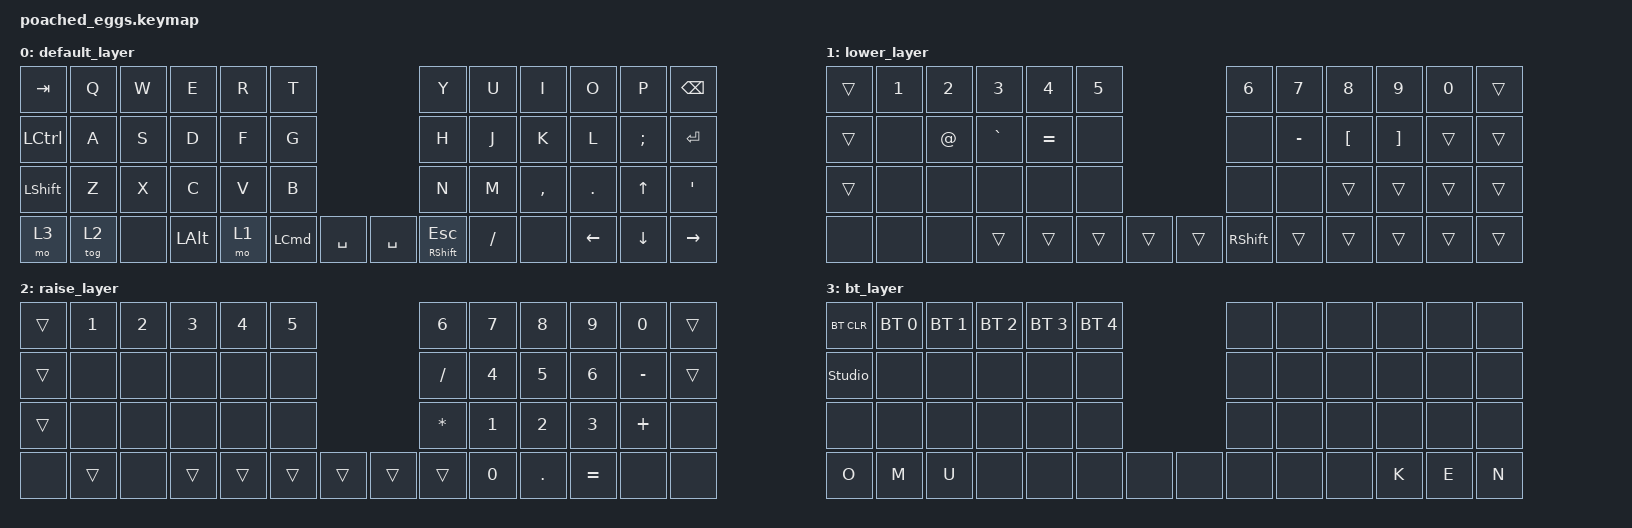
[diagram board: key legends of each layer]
#include <behaviors.dtsi>
#include <dt-bindings/zmk/bt.h>
#include <dt-bindings/zmk/keys.h>

/ {
    keymap {
        compatible = "zmk,keymap";

        default_layer {
            bindings = <
&kp TAB    &kp Q   &kp W  &kp E         &kp R  &kp T                                   &kp Y                   &kp U     &kp I      &kp O           &kp P           &kp BACKSPACE
&kp LCTRL  &kp A   &kp S  &kp D         &kp F  &kp G                                   &kp H                   &kp J     &kp K      &kp L           &kp SEMI        &kp RET
&kp LSHFT  &kp Z   &kp X  &kp C         &kp V  &kp B                                   &kp N                   &kp M     &kp COMMA  &kp DOT         &kp UP_ARROW    &kp SINGLE_QUOTE
&mo 3      &tog 2  &none  &kp LEFT_ALT  &mo 1  &kp LEFT_COMMAND  &kp SPACE  &kp SPACE  &mt RIGHT_SHIFT ESCAPE  &kp FSLH  &none      &kp LEFT_ARROW  &kp DOWN_ARROW  &kp RIGHT_ARROW
            >;
        };

        lower_layer {
            bindings = <
&trans  &kp N1  &kp N2  &kp N3     &kp N4     &kp N5                  &kp N6           &kp N7     &kp N8            &kp N9             &kp N0  &trans
&trans  &none   &kp AT  &kp GRAVE  &kp EQUAL  &none                   &none            &kp MINUS  &kp LEFT_BRACKET  &kp RIGHT_BRACKET  &trans  &trans
&trans  &none   &none   &none      &none      &none                   &none            &none      &trans            &trans             &trans  &trans
&none   &none   &none   &trans     &trans     &trans  &trans  &trans  &kp RIGHT_SHIFT  &trans     &trans            &trans             &trans  &trans
            >;
        };

        raise_layer {
            bindings = <
&trans  &kp NUMBER_1  &kp NUMBER_2  &kp NUMBER_3  &kp NUMBER_4  &kp NUMBER_5                  &kp NUMBER_6  &kp NUMBER_7  &kp NUMBER_8  &kp NUMBER_9  &kp NUMBER_0  &trans
&trans  &none         &none         &none         &none         &none                         &kp SLASH     &kp NUMBER_4  &kp NUMBER_5  &kp NUMBER_6  &kp MINUS     &trans
&trans  &none         &none         &none         &none         &none                         &kp ASTERISK  &kp NUMBER_1  &kp NUMBER_2  &kp NUMBER_3  &kp PLUS      &none
&none   &trans        &none         &trans        &trans        &trans        &trans  &trans  &trans        &kp NUMBER_0  &kp PERIOD    &kp EQUAL     &none         &none
            >;
        };

        bt_layer {
            bindings = <
&bt BT_CLR      &bt BT_SEL 0  &bt BT_SEL 1  &bt BT_SEL 2  &bt BT_SEL 3  &bt BT_SEL 4                &none  &none  &none  &none  &none  &none
&studio_unlock  &none         &none         &none         &none         &none                       &none  &none  &none  &none  &none  &none
&none           &none         &none         &none         &none         &none                       &none  &none  &none  &none  &none  &none
&kp O           &kp M         &kp U         &none         &none         &none         &none  &none  &none  &none  &none  &kp K  &kp E  &kp N
            >;
        };
    };
};
